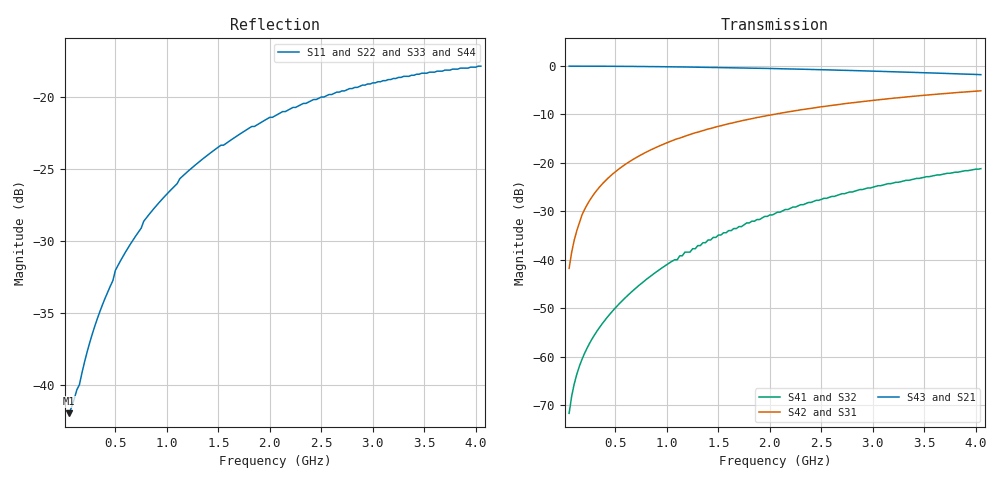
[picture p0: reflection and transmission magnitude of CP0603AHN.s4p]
!	AVX THIN FILM OPERATION
!	CP0603 HIGH DIRECTIVITY COUPLERS
!	P/N CP0603AxxxxHLTR
!	Network	Analyzer HP8720ES.07.64:Feb23,2000 Serial No.US39172382
!	Hewlett-Packard
!	24 July 2003	02:45:57
# MHZ S MA R 50
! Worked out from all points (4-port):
!   161 points, 50 MHz to 4.05 GHz, reference 50 ohm
!   strongest paths, dB at 50 MHz, 1.05 GHz, 2.05 GHz, 3.05 GHz, 4.05 GHz:
!     S43: -0.1, -0.2, -0.6, -1.1, -1.8
!     S21: -0.1, -0.2, -0.6, -1.1, -1.8
!     S42: -41.8, -15.4, -10.0, -7.0, -5.1
!     S31: -41.8, -15.4, -10.0, -7.0, -5.1
!     S41: -71.7, -40.3, -30.5, -24.7, -21.2
!     S32: -71.7, -40.3, -30.5, -24.7, -21.2
!   lowest |S11| = -42.0 dB at 50 MHz (marker M1), VSWR 1.02, Z = 50.8 - j0.244 ohm
!   |S11| at or under -10 dB: start of sweep to end of sweep
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50  0.007952 -17.6  0.992 -0.3  0.008151 89.6  0.0002611 85.1
    0.992 -0.3  0.007952 -17.6  0.0002611 85.1  0.008151 89.6
    0.008151 89.6  0.0002611 85.1  0.007952 -17.6  0.992 -0.3
    0.0002611 85.1  0.008151 89.6  0.992 -0.3  0.007952 -17.6
100  0.008929 -32.5  0.992 -0.7  0.016 89.3  0.0005264 80.6
     0.992 -0.7  0.008929 -32.5  0.0005264 80.6  0.016 89.3
     0.016 89.3  0.0005264 80.6  0.008929 -32.5  0.992 -0.7
     0.0005264 80.6  0.016 89.3  0.992 -0.7  0.008929 -32.5
175  0.011 -48.6  0.992 -1.2  0.029 88.8  0.0009403 73.9
     0.992 -1.2  0.011 -48.6  0.0009403 73.9  0.029 88.8
     0.029 88.8  0.0009403 73.9  0.011 -48.6  0.992 -1.2
     0.0009403 73.9  0.029 88.8  0.992 -1.2  0.011 -48.6
350  0.018 -67.9  0.991 -2.4  0.057 87.5  0.002039 59.7
     0.991 -2.4  0.018 -67.9  0.002039 59.7  0.057 87.5
     0.057 87.5  0.002039 59.7  0.018 -67.9  0.991 -2.4
     0.002039 59.7  0.057 87.5  0.991 -2.4  0.018 -67.9
1175  0.054 -91.1  0.973 -8.1  0.188 81.8  0.012 19.7
      0.973 -8.1  0.054 -91.1  0.012 19.7  0.188 81.8
      0.188 81.8  0.012 19.7  0.054 -91.1  0.973 -8.1
      0.012 19.7  0.188 81.8  0.973 -8.1  0.054 -91.1
2375  0.096 -103.1  0.919 -15.8  0.362 74.0  0.039 -4.7
      0.919 -15.8  0.096 -103.1  0.039 -4.7  0.362 74.0
      0.362 74.0  0.039 -4.7  0.096 -103.1  0.919 -15.8
      0.039 -4.7  0.362 74.0  0.919 -15.8  0.096 -103.1
4050  0.128 -113.2  0.811 -25.4  0.553 64.6  0.087 -23.0
      0.811 -25.4  0.128 -113.2  0.087 -23.0  0.553 64.6
      0.553 64.6  0.087 -23.0  0.128 -113.2  0.811 -25.4
      0.087 -23.0  0.553 64.6  0.811 -25.4  0.128 -113.2
